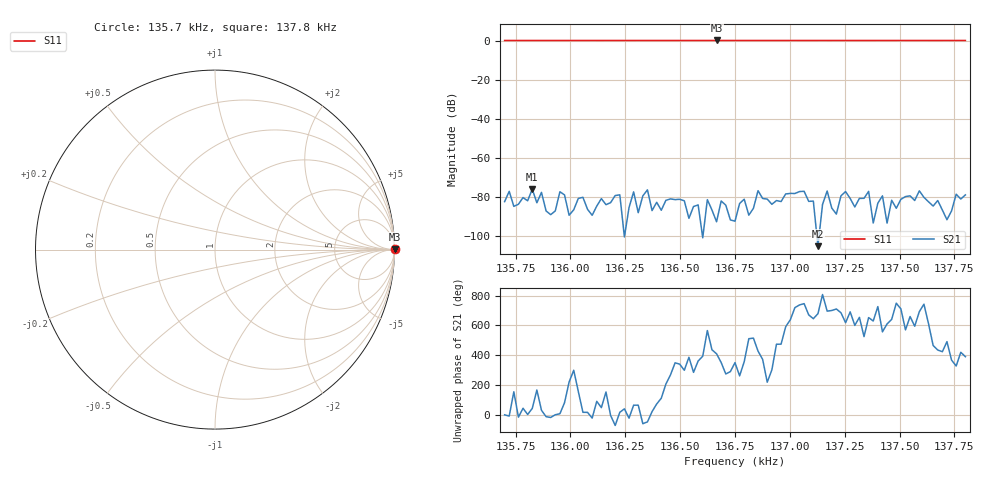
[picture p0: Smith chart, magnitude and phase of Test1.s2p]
# HZ S RI R 50
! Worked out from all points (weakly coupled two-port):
!   101 points, 135.7 kHz to 137.8 kHz, reference 50 ohm
!   highest |S21| = -76.00 dB at 135.83 kHz (marker M1); lowest = -105.2 dB at 137.13 kHz (marker M2)
!   lowest |S11| = 0.0 dB at 136.67 kHz (marker M3)
!   |S11| at or under -10 dB: nowhere
!   S12 and S22 are empty: the file has one direction only
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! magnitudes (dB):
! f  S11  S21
! 135.7 kHz  0.0  -82.4
! 135.72 kHz  0.0  -77.1
! 135.81 kHz  0.0  -81.9
! 135.83 kHz  0.0  -76.0
! 135.85 kHz  0.0  -83.0
! 136.06 kHz  0.0  -80.2
! 136.31 kHz  0.0  -88.0
! 136.35 kHz  0.0  -76.4
! 136.41 kHz  0.0  -86.8
! 136.67 kHz  0.0  -92.7
! 136.75 kHz  0.0  -92.4
! 136.85 kHz  0.0  -76.8
! 136.88 kHz  0.0  -80.8
! 137.06 kHz  0.0  -77.1
! 137.11 kHz  0.0  -82.1
! 137.13 kHz  0.0  -105.2
! 137.17 kHz  0.0  -76.9
! 137.19 kHz  0.0  -85.7
! 137.36 kHz  0.0  -77.1
! 137.46 kHz  0.0  -81.7
! 137.59 kHz  0.0  -76.9
! 137.8 kHz  0.0  -78.9
